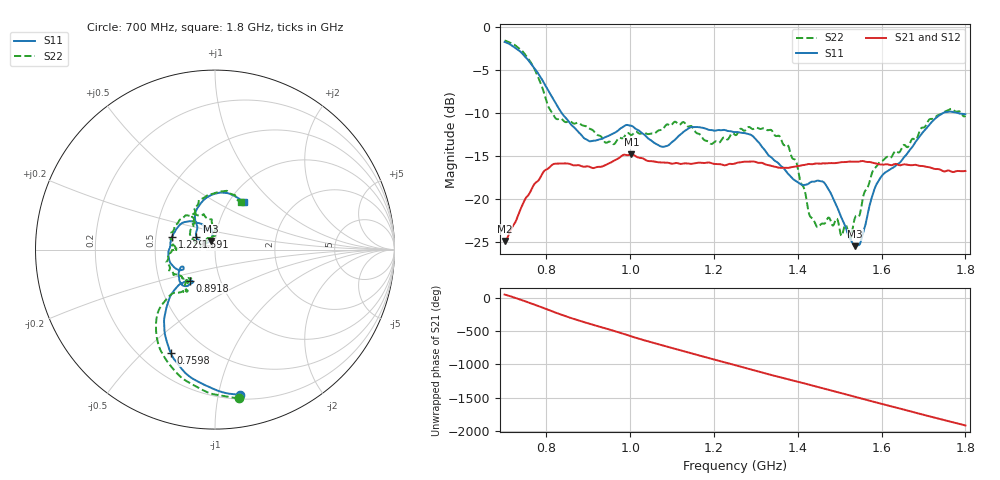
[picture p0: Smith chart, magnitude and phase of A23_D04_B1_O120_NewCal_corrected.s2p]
! Created with skrf 1.9.0 (http://scikit-rf.org).
# Hz S RI R 50.0
!freq ReS11 ImS11 ReS21 ImS21 ReS12 ImS12 ReS22 ImS22
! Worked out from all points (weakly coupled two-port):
!   1601 points, 700 MHz to 1.8 GHz, reference 50 ohm
!   highest |S21| = -14.83 dB at 1.002 GHz (marker M1); lowest = -25.0 dB at 700 MHz (marker M2)
!   lowest |S11| = -25.5 dB at 1.537 GHz (marker M3), VSWR 1.11, Z = 47.5 + j4.53 ohm
!   |S11| at or under -10 dB: 836.3 MHz to 1.747 GHz (910.9 MHz wide, 70.5 % of centre); 1.781 GHz to end of sweep
!   |S22| runs from -24.7 to -1.5 dB; largest |S21 - S12| = 0.0032
!   S11 on the Smith chart (normalised r, x): 700 MHz: 0.23, -1.16; 759.8 MHz: 0.32, -0.61; 891.8 MHz: 0.71, -0.26; 1.229 GHz: 0.61, +0.09; 1.591 GHz: 0.80, +0.11; 1.8 GHz: 1.16, +0.69
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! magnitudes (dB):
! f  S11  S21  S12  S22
! 700 MHz  -1.7  -25.0  -24.7  -1.5
! 759.8 MHz  -4.1  -19.3  -19.2  -3.9
! 819.6 MHz  -8.7  -15.9  -16.0  -10.5
! 883.6 MHz  -12.6  -16.2  -16.1  -11.4
! 891.8 MHz  -13.0  -16.3  -16.3  -11.5
! 958.5 MHz  -12.4  -15.6  -15.6  -13.6
! 1.002 GHz  -11.5  -14.8  -14.9  -12.6
! 1.067 GHz  -13.8  -15.8  -15.7  -12.0
! 1.126 GHz  -12.2  -15.9  -15.9  -11.1
! 1.229 GHz  -12.1  -16.1  -16.0  -13.0
! 1.25 GHz  -12.2  -15.9  -15.8  -12.6
! 1.356 GHz  -16.0  -16.4  -16.3  -12.7
! 1.396 GHz  -17.9  -16.2  -16.2  -15.6
! 1.434 GHz  -18.0  -16.0  -15.9  -22.3
! 1.467 GHz  -18.4  -15.9  -15.9  -22.7
! 1.524 GHz  -24.6  -15.7  -15.7  -24.7
! 1.537 GHz  -25.5  -15.7  -15.7  -22.2
! 1.551 GHz  -24.9  -15.6  -15.6  -21.1
! 1.591 GHz  -18.1  -16.0  -15.9  -16.0
! 1.617 GHz  -16.7  -16.0  -16.0  -15.2
! 1.735 GHz  -10.4  -16.5  -16.6  -10.2
! 1.8 GHz  -10.2  -16.8  -16.8  -10.3
